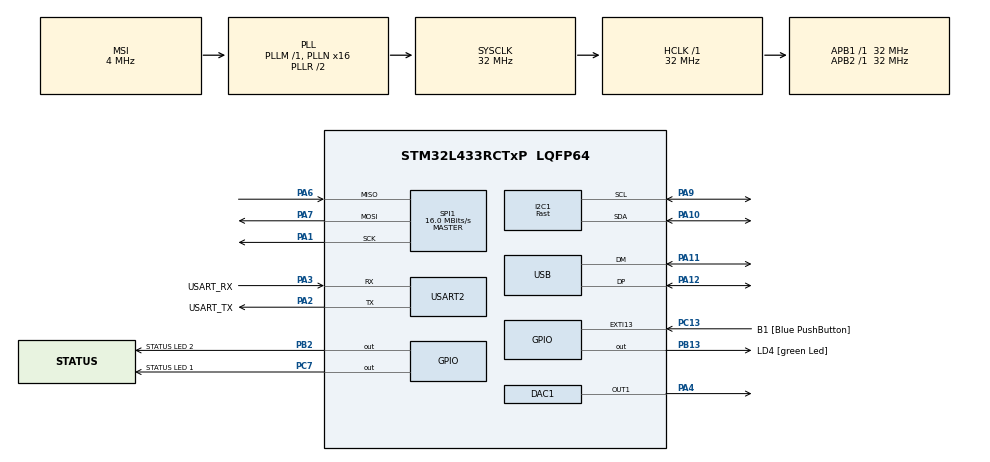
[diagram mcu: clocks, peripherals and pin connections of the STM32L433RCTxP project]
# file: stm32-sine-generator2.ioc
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DAC1.DAC_Trigger-DAC_OUT1=DAC_TRIGGER_T2_TRGO
Dma.DAC_CH1.0.Direction=DMA_MEMORY_TO_PERIPH
Dma.DAC_CH1.0.Instance=DMA1_Channel3
Dma.DAC_CH1.0.MemDataAlignment=DMA_MDATAALIGN_WORD
Dma.DAC_CH1.0.MemInc=DMA_MINC_ENABLE
Dma.DAC_CH1.0.Mode=DMA_CIRCULAR
Dma.DAC_CH1.0.PeriphDataAlignment=DMA_PDATAALIGN_WORD
Dma.DAC_CH1.0.PeriphInc=DMA_PINC_DISABLE
Dma.DAC_CH1.0.Priority=DMA_PRIORITY_LOW
Dma.Request0=DAC_CH1
I2C1.I2C_Speed_Mode=I2C_Fast
I2C1.Timing=0x00300F38
Mcu.Family=STM32L4
Mcu.Name=STM32L433RCTxP
Mcu.Package=LQFP64
NVIC.DMA1_Channel3_IRQn=true\:0\:0\:false\:false\:true\:false\:true\:true
NVIC.PriorityGroup=NVIC_PRIORITYGROUP_4
NVIC.TIM2_IRQn=true\:0\:0\:false\:false\:true\:true\:true\:true
NVIC.TIM6_DAC_IRQn=true\:0\:0\:false\:false\:true\:true\:true\:true
NVIC.USART2_IRQn=true\:0\:0\:false\:false\:true\:true\:true\:true
NVIC.USB_IRQn=true\:0\:0\:false\:false\:true\:true\:true\:true
PA1.Mode=Full_Duplex_Master
PA1.Signal=SPI1_SCK
PA10.Mode=I2C
PA10.Signal=I2C1_SDA
PA11.Mode=Device
PA11.Signal=USB_DM
PA12.Mode=Device
PA12.Signal=USB_DP
PA13\ (JTMS-SWDIO).GPIO_Label=TMS
PA13\ (JTMS-SWDIO).Mode=Serial_Wire
PA13\ (JTMS-SWDIO).Signal=SYS_JTMS-SWDIO
PA14\ (JTCK-SWCLK).GPIO_Label=TCK
PA14\ (JTCK-SWCLK).Mode=Serial_Wire
PA14\ (JTCK-SWCLK).Signal=SYS_JTCK-SWCLK
PA2.GPIO_Label=USART_TX
PA2.GPIO_Mode=GPIO_MODE_AF_PP
PA2.GPIO_PuPd=GPIO_NOPULL
PA2.GPIO_Speed=GPIO_SPEED_FREQ_VERY_HIGH
PA2.Mode=Asynchronous
PA2.Signal=USART2_TX
PA3.GPIO_Label=USART_RX
PA3.GPIO_Mode=GPIO_MODE_AF_PP
PA3.GPIO_PuPd=GPIO_NOPULL
PA3.GPIO_Speed=GPIO_SPEED_FREQ_VERY_HIGH
PA3.Mode=Asynchronous
PA3.Signal=USART2_RX
PA4.Signal=COMP_DAC11_group
PA6.Mode=Full_Duplex_Master
PA6.Signal=SPI1_MISO
PA7.Mode=Full_Duplex_Master
PA7.Signal=SPI1_MOSI
PA9.Mode=I2C
PA9.Signal=I2C1_SCL
PB13.GPIO_Label=LD4 [green Led]
PB13.Signal=GPIO_Output
PB2.GPIO_Label=STATUS LED 2
PB2.Signal=GPIO_Output
PB3\ (JTDO-TRACESWO).GPIO_Label=SWO
PB3\ (JTDO-TRACESWO).Signal=SYS_JTDO-SWO
PC13.GPIO_Label=B1 [Blue PushButton]
PC13.GPIO_ModeDefaultEXTI=GPIO_MODE_IT_FALLING
PC13.GPIO_PuPd=GPIO_NOPULL
PC13.Signal=GPXTI13
PC14-OSC32_IN\ (PC14).Mode=LSE-External-Oscillator
PC14-OSC32_IN\ (PC14).Signal=RCC_OSC32_IN
PC15-OSC32_OUT\ (PC15).Mode=LSE-External-Oscillator
PC15-OSC32_OUT\ (PC15).Signal=RCC_OSC32_OUT
PC7.GPIO_Label=STATUS LED 1
PC7.Signal=GPIO_Output
PH0-OSC_IN\ (PH0).GPIO_Label=MCO
PH0-OSC_IN\ (PH0).Signal=RCC_OSC_IN
PH1-OSC_OUT\ (PH1).Signal=RCC_OSC_OUT
ProjectManager.HeapSize=0x200
ProjectManager.StackSize=0x400
ProjectManager.TargetToolchain=Other Toolchains (GPDSC)
RCC.ADCFreq_Value=48000000
RCC.AHBFreq_Value=32000000
RCC.APB1Freq_Value=32000000
RCC.APB1TimFreq_Value=32000000
RCC.APB2Freq_Value=32000000
RCC.APB2TimFreq_Value=32000000
RCC.CK48CLockSelection=RCC_USBCLKSOURCE_HSI48
RCC.CortexFreq_Value=32000000
RCC.HCLKFreq_Value=32000000
RCC.HSE_VALUE=8000000
RCC.HSI48_VALUE=48000000
RCC.HSI_VALUE=16000000
RCC.MSI_VALUE=4000000
RCC.PLLN=16
RCC.PLLSAI1N=24
RCC.PREFETCH_ENABLE=1
RCC.SYSCLKFreq_VALUE=32000000
RCC.SYSCLKSource=RCC_SYSCLKSOURCE_PLLCLK
RCC.USBFreq_Value=48000000
RCC.VCOOutputFreq_Value=64000000
SH.COMP_DAC11_group.0=DAC1_OUT1,DAC_OUT1
SPI1.BaudRatePrescaler=SPI_BAUDRATEPRESCALER_2
SPI1.CalculateBaudRate=16.0 MBits/s
SPI1.DataSize=SPI_DATASIZE_8BIT
SPI1.Direction=SPI_DIRECTION_2LINES
SPI1.Mode=SPI_MODE_MASTER
SPI1.VirtualType=VM_MASTER
USART2.VirtualMode-Asynchronous=VM_ASYNC
USB_DEVICE.CLASS_NAME_FS=CUSTOM_HID
USB_DEVICE.PID_CUSTOMHID_FS=22353
USB_DEVICE.USBD_CUSTOMHID_OUTREPORT_BUF_SIZE=64
USB_DEVICE.USBD_CUSTOM_HID_REPORT_DESC_SIZE=64
USB_DEVICE.VID=1156
USB_DEVICE.VirtualMode=CustomHid
USB_DEVICE.VirtualModeFS=Custom_Hid_FS
VP_TIM2_VS_ClockSourceINT.Mode=Internal
VP_TIM6_VS_ClockSourceINT.Mode=Enable_Timer
VP_USB_DEVICE_VS_USB_DEVICE_CUSTOM_HID_FS.Mode=CUSTOM_HID_FS
board=NUCLEO-L433RC-P

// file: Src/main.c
/* USER CODE BEGIN Header */
/**
 ******************************************************************************
 * @file           : main.c
 * @brief          : Main program body
 ******************************************************************************
 * @attention
 *
 * Copyright (c) 2022 STMicroelectronics.
 * All rights reserved.
 *
 * This software is licensed under terms that can be found in the LICENSE file
 * in the root directory of this software component.
 * If no LICENSE file comes with this software, it is provided AS-IS.
 *
 ******************************************************************************
 */
// status leds are PB13 (built in led on the board), PB2 external red error led, PC7 external status led (no use yet)
/* USER CODE END Header */
#include "main.h"
#include "dac.h"
#include "dma.h"
#include "i2c.h"
#include "spi.h"
#include "tim.h"
#include "usart.h"
#include "usb_device.h"
#include "gpio.h"
#include "stdarg.h"
#include "stdio.h"
#include "usbd_custom_hid_if.h"
#include "functions.h"
#include "string.h"
#include "ssd1306.h"

/* USER CODE BEGIN PTD */

uint32_t sin_out[1000];
uint32_t arr_len = 255;
uint32_t elapsedTime = 0;
uint8_t cursor_pos_x = 0;
uint8_t cursor_pos_y = 0;
char msgString[4][50] = {0};
#define PI 3.141592653

extern float frequencies[10] = {0};
extern float voltages[10] = {0};
extern int time[10] = {0};
extern int processState = 0;
int currentSet = 0;
uint32_t curtime = 0,curtime2 = 0;
uint8_t btn_guard = 0;

uint8_t dataCurrentState = NO_DATA;
/* USER CODE END PTD */

void SystemClock_Config(void);

int main(void)
{

  /* MCU Configuration--------------------------------------------------------*/

  /* Reset of all peripherals, Initializes the Flash interface and the Systick. */
  HAL_Init();

  /* Configure the system clock */
  SystemClock_Config();

  /* Initialize all configured peripherals */
  MX_GPIO_Init();
  MX_DMA_Init();
  MX_DAC1_Init();
  MX_TIM2_Init();
  MX_TIM6_Init();
  MX_USART2_UART_Init();
  MX_I2C1_Init();
  MX_SPI1_Init();
  MX_USB_DEVICE_Init();
  ssd1306_Init();
  /* USER CODE BEGIN 2 */

  //HAL_TIM_Base_Start(&htim2);    // tim for delay 32 bit
  HAL_TIM_Base_Start(&htim6); // tim for dac 16bit

  calcsin(sin_out, 3.3);
  status = 0;
  HAL_DAC_Start_DMA(&hdac1, DAC1_CHANNEL_1, (uint32_t *)sin_out, arr_len, DAC_ALIGN_12B_R); // starts the DAC with DMA reading data from sin_out array

  debugI2Cscan(&hi2c1,&huart2);

  displayInitData();
  initDigiPot(&hi2c1,DIGIPOT_ADDR);

  /*for(int i = 0; i < 16; i++){EEPROM_PageErase (&hi2c1,EEPROM_ADDR,i);}*/

  debug_printf("successful init \r\n");

  HAL_GPIO_WritePin(GPIOB, GPIO_PIN_13, 1); // vgrajena zelena ledica na plošči, sporoči uspešno inicializacijo

  /* USER CODE END 2 */

  /* Infinite loop */
  /* USER CODE BEGIN WHILE */
  while (1)
  {

    if (status == 1)
    {
     // debug_printf("entered state 0:%d, 1:%d \r\n", buffer[0], buffer[1]); //debug information

      if (buffer[1] == 1)  // checks if the buffer recieved is marked as the first one
      {

        memcpy((uint8_t *)buffer1, (uint8_t *)buffer, 64);
        USBD_free(buffer);

        debug_printf("recieved 1st array \r\n");
        debug_print_array(buffer1, 64);

      }
      if (buffer[1] == 2) // checks if the buffer recieved is marked as the second one and processes the recieved data as we only expect 2 buffers
      {

        memcpy((uint8_t *)buffer2, (uint8_t *)buffer, 64);
        USBD_free(buffer);
        debug_printf("recieved 2nd array \r\n");
        debug_print_array(buffer2, 64);

        printf("process data \r\n");
        processData(frequencies, voltages, time, buffer1, buffer2); //converts data from int to float and writes it to
        dataCurrentState = RECIEVED_FROM_USB;
        processState = 0;
        /*debug information*/
        debug_printf("frequencies \r\n");
        for(int i = 0;i < 10;i++){debug_printf("%d: %d \r\n",i,(int)frequencies[i]);}
        debug_printf("voltages \r\n");
        for(int i = 0;i < 10;i++){debug_printf("%d: %d \r\n",i,(int)voltages[i]);}
        debug_printf("time \r\n");
        for(int i = 0;i < 10;i++){debug_printf("%d: %d \r\n",i,(int)time[i]);}

          ssd1306_SetCursor(0,32);
          ssd1306_WriteString("Data recieved from:",Font_6x8,White);
          ssd1306_SetCursor(0,42);
          ssd1306_WriteString("usb",Font_6x8,White);
          ssd1306_UpdateScreen();

          if(buffer2[62] == 1){ // checks if the data recieved via usb needs to be stored to flash or eeprom

            savePreset(frequencies,voltages,time,&hi2c1,EEPROM_ADDR); //saves the data to either eeprom or internal flash

            ssd1306_SetCursor(0,54);
            ssd1306_WriteString("written to eeprom",Font_6x8,White);
            ssd1306_UpdateScreen();

          }
      }

      status = 0;
    }

    if(processState == 1 ){

      if(dataCurrentState != RECIEVED_FROM_USB &&  btn_guard == 1){readPreset(frequencies,voltages,time,&hi2c1,EEPROM_ADDR); btn_guard = 2;}

      setARR(frequencies,currentSet);
      setDigiPot2(&hi2c1,voltages[currentSet],DIGIPOT_ADDR);
      cursor_pos_x = 2;
      cursor_pos_y = 0;
    	writeDataInfoToScreen(msgString,frequencies, voltages,  time, currentSet, cursor_pos_x, cursor_pos_y); // writes current settings to the oled display
      processState = 2;
      curtime = HAL_GetTick();

    }

    if((HAL_GetTick() > ((time[currentSet]*60*1000) + curtime)) && processState == 2){ //checks if enough time has passed to move on to the next set of data

      processState = 1;
      currentSet++;
      debug_printf("current set finished, moving on to the next one \r\n");

      }

      if(currentSet >= 10 && processState != 100){ // marks the end of the process and displays it to the I2C oled display
        processState = 100;
        ssd1306_Fill(Black);
	      ssd1306_UpdateScreen();
        ssd1306_SetCursor(0,32);
	      ssd1306_WriteString("process finished", Font_6x8, White);
	      ssd1306_UpdateScreen();

      }

    curtime2 = HAL_GetTick();
    HAL_Delay(100); // added delay for stability reasons
    /* USER CODE END WHILE */

  }
}

void SystemClock_Config(void)
{
  RCC_OscInitTypeDef RCC_OscInitStruct = {0};
  RCC_ClkInitTypeDef RCC_ClkInitStruct = {0};

  /** Configure the main internal regulator output voltage
   */
  if (HAL_PWREx_ControlVoltageScaling(PWR_REGULATOR_VOLTAGE_SCALE1) != HAL_OK)
  {
    Error_Handler();
  }
  /** Configure LSE Drive Capability
   */
  HAL_PWR_EnableBkUpAccess();
  __HAL_RCC_LSEDRIVE_CONFIG(RCC_LSEDRIVE_LOW);
  /** Initializes the RCC Oscillators according to the specified parameters
   * in the RCC_OscInitTypeDef structure.
   */
  RCC_OscInitStruct.OscillatorType = RCC_OSCILLATORTYPE_HSI48 | RCC_OSCILLATORTYPE_LSE | RCC_OSCILLATORTYPE_MSI;
  RCC_OscInitStruct.LSEState = RCC_LSE_ON;
  RCC_OscInitStruct.HSI48State = RCC_HSI48_ON;
  RCC_OscInitStruct.MSIState = RCC_MSI_ON;
  RCC_OscInitStruct.MSICalibrationValue = 0;
  RCC_OscInitStruct.MSIClockRange = RCC_MSIRANGE_6;
  RCC_OscInitStruct.PLL.PLLState = RCC_PLL_ON;
  RCC_OscInitStruct.PLL.PLLSource = RCC_PLLSOURCE_MSI;
  RCC_OscInitStruct.PLL.PLLM = 1;
  RCC_OscInitStruct.PLL.PLLN = 16;
  RCC_OscInitStruct.PLL.PLLP = RCC_PLLP_DIV7;
  RCC_OscInitStruct.PLL.PLLQ = RCC_PLLQ_DIV2;
  RCC_OscInitStruct.PLL.PLLR = RCC_PLLR_DIV2;
  if (HAL_RCC_OscConfig(&RCC_OscInitStruct) != HAL_OK)
  {
    Error_Handler();
  }
  /** Initializes the CPU, AHB and APB buses clocks
   */
  RCC_ClkInitStruct.ClockType = RCC_CLOCKTYPE_HCLK | RCC_CLOCKTYPE_SYSCLK | RCC_CLOCKTYPE_PCLK1 | RCC_CLOCKTYPE_PCLK2;
  RCC_ClkInitStruct.SYSCLKSource = RCC_SYSCLKSOURCE_PLLCLK;
  RCC_ClkInitStruct.AHBCLKDivider = RCC_SYSCLK_DIV1;
  RCC_ClkInitStruct.APB1CLKDivider = RCC_HCLK_DIV1;
  RCC_ClkInitStruct.APB2CLKDivider = RCC_HCLK_DIV1;

  if (HAL_RCC_ClockConfig(&RCC_ClkInitStruct, FLASH_LATENCY_1) != HAL_OK)
  {
    Error_Handler();
  }
  /** Enable MSI Auto calibration
   */
  HAL_RCCEx_EnableMSIPLLMode();
}

/* USER CODE BEGIN 4 */
void debug_printf(const char *format, ...)
{
  char buffer[256];
  va_list args;
  va_start(args, format);
  vsnprintf(buffer, sizeof(buffer), format, args);
  HAL_UART_Transmit(&huart2, (uint8_t *)buffer, strlen(buffer), HAL_MAX_DELAY);
   while (HAL_UART_GetState(&huart2) != HAL_UART_STATE_READY){}
  // tukaj pokliči UART_SEND kjer pošlješ buffer z dolžino strlen(buffer)
  va_end(args);
}

void HAL_TIM_PeriodElapsedCallback(TIM_HandleTypeDef *htim)
{
  if (htim == &htim2)
  {
    debug_printf("timer interrupt\r\n");
    //processState = 3;

  }
}
void HAL_GPIO_EXTI_Callback(uint16_t GPIO_Pin){

  if(GPIO_Pin == GPIO_PIN_13){
    debug_printf("button pressed\r\n");
    if(processState != 2 && btn_guard != 1 && btn_guard != 2){

      processState = 1;
      btn_guard = 1;

    }
  }
}

/* USER CODE END 4 */

void Error_Handler(void)
{
  /* USER CODE BEGIN Error_Handler_Debug */
  /* User can add his own implementation to report the HAL error return state */
  __disable_irq();
  while (1)
  {
    debug_printf("error \r\n");
    HAL_GPIO_WritePin(GPIOB, GPIO_PIN_2, 1); // error led 1
    HAL_Delay(100);
  }
  /* USER CODE END Error_Handler_Debug */
}
